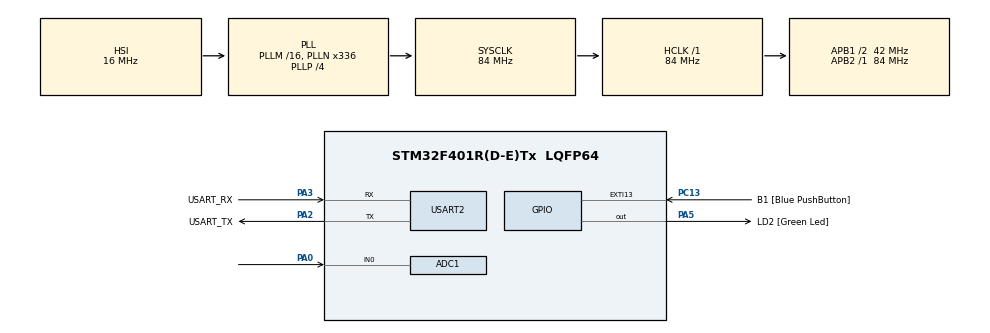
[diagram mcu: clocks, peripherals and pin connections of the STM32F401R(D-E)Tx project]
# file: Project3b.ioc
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ADC1.Channel-0\#ChannelRegularConversion=ADC_CHANNEL_0
ADC1.DMAContinuousRequests=ENABLE
ADC1.ExternalTrigConv=ADC_EXTERNALTRIGCONV_T2_TRGO
ADC1.NbrOfConversion=1
ADC1.NbrOfConversionFlag=1
ADC1.Rank-0\#ChannelRegularConversion=1
ADC1.SamplingTime-0\#ChannelRegularConversion=ADC_SAMPLETIME_480CYCLES
ADC1.master=1
Dma.ADC1.0.Direction=DMA_PERIPH_TO_MEMORY
Dma.ADC1.0.FIFOMode=DMA_FIFOMODE_DISABLE
Dma.ADC1.0.Instance=DMA2_Stream0
Dma.ADC1.0.MemDataAlignment=DMA_MDATAALIGN_HALFWORD
Dma.ADC1.0.MemInc=DMA_MINC_ENABLE
Dma.ADC1.0.Mode=DMA_CIRCULAR
Dma.ADC1.0.PeriphDataAlignment=DMA_PDATAALIGN_HALFWORD
Dma.ADC1.0.PeriphInc=DMA_PINC_DISABLE
Dma.ADC1.0.Priority=DMA_PRIORITY_LOW
Dma.Request0=ADC1
Mcu.Family=STM32F4
Mcu.Name=STM32F401R(D-E)Tx
Mcu.Package=LQFP64
NVIC.ADC_IRQn=true\:0\:0\:false\:false\:true\:true\:true\:true
NVIC.DMA2_Stream0_IRQn=true\:0\:0\:false\:false\:true\:false\:true\:true
NVIC.PriorityGroup=NVIC_PRIORITYGROUP_0
PA0-WKUP.Signal=ADCx_IN0
PA13.GPIO_Label=TMS
PA13.Mode=Serial_Wire
PA13.Signal=SYS_JTMS-SWDIO
PA14.GPIO_Label=TCK
PA14.Mode=Serial_Wire
PA14.Signal=SYS_JTCK-SWCLK
PA2.GPIO_Label=USART_TX
PA2.GPIO_Mode=GPIO_MODE_AF_PP
PA2.GPIO_PuPd=GPIO_NOPULL
PA2.GPIO_Speed=GPIO_SPEED_FREQ_LOW
PA2.Mode=Asynchronous
PA2.Signal=USART2_TX
PA3.GPIO_Label=USART_RX
PA3.GPIO_Mode=GPIO_MODE_AF_PP
PA3.GPIO_PuPd=GPIO_NOPULL
PA3.GPIO_Speed=GPIO_SPEED_FREQ_LOW
PA3.Mode=Asynchronous
PA3.Signal=USART2_RX
PA5.GPIO_Label=LD2 [Green Led]
PA5.GPIO_Mode=GPIO_MODE_OUTPUT_PP
PA5.GPIO_PuPd=GPIO_NOPULL
PA5.GPIO_Speed=GPIO_SPEED_FREQ_LOW
PA5.Signal=GPIO_Output
PB3.GPIO_Label=SWO
PB3.Signal=SYS_JTDO-SWO
PC13-ANTI_TAMP.GPIO_Label=B1 [Blue PushButton]
PC13-ANTI_TAMP.GPIO_ModeDefaultEXTI=GPIO_MODE_IT_FALLING
PC13-ANTI_TAMP.GPIO_PuPd=GPIO_NOPULL
PC13-ANTI_TAMP.Signal=GPXTI13
PC14-OSC32_IN.Mode=LSE-External-Oscillator
PC14-OSC32_IN.Signal=RCC_OSC32_IN
PC15-OSC32_OUT.Mode=LSE-External-Oscillator
PC15-OSC32_OUT.Signal=RCC_OSC32_OUT
PH0\ -\ OSC_IN.Mode=HSE-External-Clock-Source
PH0\ -\ OSC_IN.Signal=RCC_OSC_IN
PH1\ -\ OSC_OUT.Mode=HSE-External-Clock-Source
PH1\ -\ OSC_OUT.Signal=RCC_OSC_OUT
ProjectManager.HeapSize=0x200
ProjectManager.StackSize=0x400
ProjectManager.TargetToolchain=STM32CubeIDE
RCC.48MHZClocksFreq_Value=48000000
RCC.AHBFreq_Value=84000000
RCC.APB1CLKDivider=RCC_HCLK_DIV2
RCC.APB1Freq_Value=42000000
RCC.APB1TimFreq_Value=84000000
RCC.APB2Freq_Value=84000000
RCC.APB2TimFreq_Value=84000000
RCC.CortexFreq_Value=84000000
RCC.HCLKFreq_Value=84000000
RCC.HSE_VALUE=8000000
RCC.HSI_VALUE=16000000
RCC.PLLN=336
RCC.PLLP=RCC_PLLP_DIV4
RCC.PLLQ=7
RCC.SYSCLKFreq_VALUE=84000000
RCC.SYSCLKSource=RCC_SYSCLKSOURCE_PLLCLK
RCC.VCOOutputFreq_Value=336000000
SH.ADCx_IN0.0=ADC1_IN0,IN0
TIM2.Period=83999
TIM2.Prescaler=0
TIM2.TIM_MasterOutputTrigger=TIM_TRGO_UPDATE
USART2.VirtualMode=VM_ASYNC
VP_TIM2_VS_ClockSourceINT.Mode=Internal
board=NUCLEO-F401RE

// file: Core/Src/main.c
/* USER CODE BEGIN Header */
/**
  ******************************************************************************
  * @file           : main.c
  * @brief          : Main program body
  ******************************************************************************
  * @attention
  *
  * Copyright (c) 2023 STMicroelectronics.
  * All rights reserved.
  *
  * This software is licensed under terms that can be found in the LICENSE file
  * in the root directory of this software component.
  * If no LICENSE file comes with this software, it is provided AS-IS.
  *
  ******************************************************************************
  */
/* USER CODE END Header */
#include "main.h"

/* USER CODE BEGIN Includes */
#include <math.h>
#include <stdio.h>
/* USER CODE END Includes */

/* USER CODE BEGIN PM */
#define DMA_SIZE 2000

/* USER CODE END PM */

ADC_HandleTypeDef hadc1;
DMA_HandleTypeDef hdma_adc1;

TIM_HandleTypeDef htim2;

UART_HandleTypeDef huart2;

/* USER CODE BEGIN PV */
uint16_t LDR_values[DMA_SIZE];
/* USER CODE END PV */

void SystemClock_Config(void);
static void MX_GPIO_Init(void);
static void MX_DMA_Init(void);
static void MX_USART2_UART_Init(void);
static void MX_ADC1_Init(void);
static void MX_TIM2_Init(void);

/* USER CODE BEGIN 0 */
void HAL_ADC_ConvHalfCpltCallback(ADC_HandleTypeDef* hadc){
	float voltage_ADC;
	for(int i = 0; i < 1000; i++){
		voltage_ADC += LDR_values[i];
	}
	voltage_ADC = voltage_ADC/1000.0;//calculate the average
	voltage_ADC = voltage_ADC/4095.0*3.3;//transform to the Voltage
	float LDR = (voltage_ADC*100000.0)/(3.3-voltage_ADC);
	float LUX = 10.0*pow(100000.0/LDR,1.25);
	char string[64];
	int length = snprintf(string,sizeof(string),"Resistance:%.2f\r\nLUX:%.2f\r\n\r\n",LDR,LUX);
	HAL_UART_Transmit(&huart2,(uint8_t*) string,length,100);
}
void HAL_ADC_ConvCpltCallback(ADC_HandleTypeDef* hadc){
	    float voltage_ADC;
		for(int i = 1000; i<2000; i++){
			voltage_ADC += LDR_values[i];
		}
		voltage_ADC = voltage_ADC/1000.0;//calculate the average
		voltage_ADC = voltage_ADC/4095.0*3.3;//transform to the Voltage
		float LDR = (voltage_ADC*100000.0)/(3.3-voltage_ADC);
		float LUX = 10.0*pow(100000.0/LDR,1.25);
		char string[64];
		int length = snprintf(string,sizeof(string),"Resistance:%.2f\r\nLUX:%.2f\r\n\r\n",LDR,LUX);
		HAL_UART_Transmit(&huart2,(uint8_t*) string,length,100);
}

/* USER CODE END 0 */

int main(void)
{

  /* MCU Configuration--------------------------------------------------------*/

  /* Reset of all peripherals, Initializes the Flash interface and the Systick. */
  HAL_Init();

  /* Configure the system clock */
  SystemClock_Config();

  /* Initialize all configured peripherals */
  MX_GPIO_Init();
  MX_DMA_Init();
  MX_USART2_UART_Init();
  MX_ADC1_Init();
  MX_TIM2_Init();
  /* USER CODE BEGIN 2 */
  if (HAL_TIM_Base_Start(&htim2) != HAL_OK){
  	  Error_Handler();
    }
  if (HAL_ADC_Start_DMA(&hadc1,(uint32_t*)LDR_values,DMA_SIZE) != HAL_OK){
	  Error_Handler();
  }
  /* USER CODE END 2 */

  /* Infinite loop */
  while (1)
  {

  }
}

void SystemClock_Config(void)
{
  RCC_OscInitTypeDef RCC_OscInitStruct = {0};
  RCC_ClkInitTypeDef RCC_ClkInitStruct = {0};

  /** Configure the main internal regulator output voltage
  */
  __HAL_RCC_PWR_CLK_ENABLE();
  __HAL_PWR_VOLTAGESCALING_CONFIG(PWR_REGULATOR_VOLTAGE_SCALE2);

  /** Initializes the RCC Oscillators according to the specified parameters
  * in the RCC_OscInitTypeDef structure.
  */
  RCC_OscInitStruct.OscillatorType = RCC_OSCILLATORTYPE_HSI;
  RCC_OscInitStruct.HSIState = RCC_HSI_ON;
  RCC_OscInitStruct.HSICalibrationValue = RCC_HSICALIBRATION_DEFAULT;
  RCC_OscInitStruct.PLL.PLLState = RCC_PLL_ON;
  RCC_OscInitStruct.PLL.PLLSource = RCC_PLLSOURCE_HSI;
  RCC_OscInitStruct.PLL.PLLM = 16;
  RCC_OscInitStruct.PLL.PLLN = 336;
  RCC_OscInitStruct.PLL.PLLP = RCC_PLLP_DIV4;
  RCC_OscInitStruct.PLL.PLLQ = 7;
  if (HAL_RCC_OscConfig(&RCC_OscInitStruct) != HAL_OK)
  {
    Error_Handler();
  }

  /** Initializes the CPU, AHB and APB buses clocks
  */
  RCC_ClkInitStruct.ClockType = RCC_CLOCKTYPE_HCLK|RCC_CLOCKTYPE_SYSCLK
                              |RCC_CLOCKTYPE_PCLK1|RCC_CLOCKTYPE_PCLK2;
  RCC_ClkInitStruct.SYSCLKSource = RCC_SYSCLKSOURCE_PLLCLK;
  RCC_ClkInitStruct.AHBCLKDivider = RCC_SYSCLK_DIV1;
  RCC_ClkInitStruct.APB1CLKDivider = RCC_HCLK_DIV2;
  RCC_ClkInitStruct.APB2CLKDivider = RCC_HCLK_DIV1;

  if (HAL_RCC_ClockConfig(&RCC_ClkInitStruct, FLASH_LATENCY_2) != HAL_OK)
  {
    Error_Handler();
  }
}

static void MX_ADC1_Init(void)
{

  ADC_ChannelConfTypeDef sConfig = {0};

  /** Configure the global features of the ADC (Clock, Resolution, Data Alignment and number of conversion)
  */
  hadc1.Instance = ADC1;
  hadc1.Init.ClockPrescaler = ADC_CLOCK_SYNC_PCLK_DIV4;
  hadc1.Init.Resolution = ADC_RESOLUTION_12B;
  hadc1.Init.ScanConvMode = DISABLE;
  hadc1.Init.ContinuousConvMode = DISABLE;
  hadc1.Init.DiscontinuousConvMode = DISABLE;
  hadc1.Init.ExternalTrigConvEdge = ADC_EXTERNALTRIGCONVEDGE_RISING;
  hadc1.Init.ExternalTrigConv = ADC_EXTERNALTRIGCONV_T2_TRGO;
  hadc1.Init.DataAlign = ADC_DATAALIGN_RIGHT;
  hadc1.Init.NbrOfConversion = 1;
  hadc1.Init.DMAContinuousRequests = ENABLE;
  hadc1.Init.EOCSelection = ADC_EOC_SINGLE_CONV;
  if (HAL_ADC_Init(&hadc1) != HAL_OK)
  {
    Error_Handler();
  }

  /** Configure for the selected ADC regular channel its corresponding rank in the sequencer and its sample time.
  */
  sConfig.Channel = ADC_CHANNEL_0;
  sConfig.Rank = 1;
  sConfig.SamplingTime = ADC_SAMPLETIME_480CYCLES;
  if (HAL_ADC_ConfigChannel(&hadc1, &sConfig) != HAL_OK)
  {
    Error_Handler();
  }

}

static void MX_TIM2_Init(void)
{

  TIM_ClockConfigTypeDef sClockSourceConfig = {0};
  TIM_MasterConfigTypeDef sMasterConfig = {0};

  htim2.Instance = TIM2;
  htim2.Init.Prescaler = 0;
  htim2.Init.CounterMode = TIM_COUNTERMODE_UP;
  htim2.Init.Period = 83999;
  htim2.Init.ClockDivision = TIM_CLOCKDIVISION_DIV1;
  htim2.Init.AutoReloadPreload = TIM_AUTORELOAD_PRELOAD_DISABLE;
  if (HAL_TIM_Base_Init(&htim2) != HAL_OK)
  {
    Error_Handler();
  }
  sClockSourceConfig.ClockSource = TIM_CLOCKSOURCE_INTERNAL;
  if (HAL_TIM_ConfigClockSource(&htim2, &sClockSourceConfig) != HAL_OK)
  {
    Error_Handler();
  }
  sMasterConfig.MasterOutputTrigger = TIM_TRGO_UPDATE;
  sMasterConfig.MasterSlaveMode = TIM_MASTERSLAVEMODE_DISABLE;
  if (HAL_TIMEx_MasterConfigSynchronization(&htim2, &sMasterConfig) != HAL_OK)
  {
    Error_Handler();
  }

}

static void MX_USART2_UART_Init(void)
{

  huart2.Instance = USART2;
  huart2.Init.BaudRate = 115200;
  huart2.Init.WordLength = UART_WORDLENGTH_8B;
  huart2.Init.StopBits = UART_STOPBITS_1;
  huart2.Init.Parity = UART_PARITY_NONE;
  huart2.Init.Mode = UART_MODE_TX_RX;
  huart2.Init.HwFlowCtl = UART_HWCONTROL_NONE;
  huart2.Init.OverSampling = UART_OVERSAMPLING_16;
  if (HAL_UART_Init(&huart2) != HAL_OK)
  {
    Error_Handler();
  }

}

static void MX_DMA_Init(void)
{

  /* DMA controller clock enable */
  __HAL_RCC_DMA2_CLK_ENABLE();

  /* DMA interrupt init */
  /* DMA2_Stream0_IRQn interrupt configuration */
  HAL_NVIC_SetPriority(DMA2_Stream0_IRQn, 0, 0);
  HAL_NVIC_EnableIRQ(DMA2_Stream0_IRQn);

}

static void MX_GPIO_Init(void)
{
  GPIO_InitTypeDef GPIO_InitStruct = {0};

  /* GPIO Ports Clock Enable */
  __HAL_RCC_GPIOC_CLK_ENABLE();
  __HAL_RCC_GPIOH_CLK_ENABLE();
  __HAL_RCC_GPIOA_CLK_ENABLE();
  __HAL_RCC_GPIOB_CLK_ENABLE();

  /*Configure GPIO pin Output Level */
  HAL_GPIO_WritePin(LD2_GPIO_Port, LD2_Pin, GPIO_PIN_RESET);

  /*Configure GPIO pin : B1_Pin */
  GPIO_InitStruct.Pin = B1_Pin;
  GPIO_InitStruct.Mode = GPIO_MODE_IT_FALLING;
  GPIO_InitStruct.Pull = GPIO_NOPULL;
  HAL_GPIO_Init(B1_GPIO_Port, &GPIO_InitStruct);

  /*Configure GPIO pin : LD2_Pin */
  GPIO_InitStruct.Pin = LD2_Pin;
  GPIO_InitStruct.Mode = GPIO_MODE_OUTPUT_PP;
  GPIO_InitStruct.Pull = GPIO_NOPULL;
  GPIO_InitStruct.Speed = GPIO_SPEED_FREQ_LOW;
  HAL_GPIO_Init(LD2_GPIO_Port, &GPIO_InitStruct);

}

void Error_Handler(void)
{
  __disable_irq();
  while (1)
  {
  }
}
